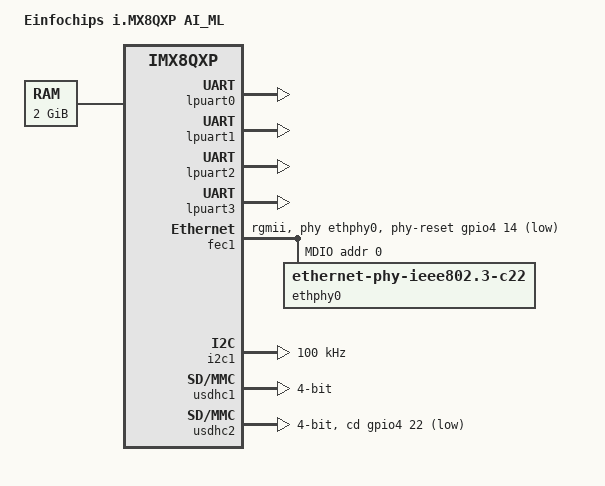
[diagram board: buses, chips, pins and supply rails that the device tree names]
// SPDX-License-Identifier: GPL-2.0+
/*
 * Copyright 2018 Einfochips
 * Copyright 2019 Linaro Ltd.
 */

/dts-v1/;

#include "fsl-imx8qxp.dtsi"
#include "fsl-imx8qxp-ai_ml-u-boot.dtsi"

/ {
	model = "Einfochips i.MX8QXP AI_ML";
	compatible = "einfochips,imx8qxp-ai_ml", "fsl,imx8qxp";

	chosen {
		bootargs = "console=ttyLP2,115200 earlycon=lpuart32,0x5a080000,115200";
		stdout-path = &lpuart2;
	};

	memory@80000000 {
		device_type = "memory";
		reg = <0x00000000 0x80000000 0 0x80000000>;
	};
};

&lpuart0 {
	pinctrl-names = "default";
	pinctrl-0 = <&pinctrl_lpuart0>;
	status = "okay";
};

&lpuart1 {
	pinctrl-names = "default";
	pinctrl-0 = <&pinctrl_lpuart1>;
	status = "okay";
};

&lpuart2 {
	pinctrl-names = "default";
	pinctrl-0 = <&pinctrl_lpuart2>;
	status = "okay";
};

&lpuart3 {
	pinctrl-names = "default";
	pinctrl-0 = <&pinctrl_lpuart3>;
	status = "okay";
};

&fec1 {
	pinctrl-names = "default";
	pinctrl-0 = <&pinctrl_fec1>;
	phy-mode = "rgmii";
	phy-handle = <&ethphy0>;
	fsl,ar8031-phy-fixup;
	fsl,magic-packet;
	phy-reset-gpios = <&gpio4 14 GPIO_ACTIVE_LOW>;
	phy-reset-duration = <10>;
	phy-reset-post-delay = <150>;
	status = "okay";

	mdio {
		#address-cells = <1>;
		#size-cells = <0>;

		ethphy0: ethernet-phy@0 {
			compatible = "ethernet-phy-ieee802.3-c22";
			reg = <0>;
		};
	};
};

/* LS-I2C1 */
&i2c1 {
	#address-cells = <1>;
	#size-cells = <0>;
	clock-frequency = <100000>;
	pinctrl-names = "default";
	pinctrl-0 = <&pinctrl_lpi2c1>;
	status = "okay";
};

&usdhc1 {
	pinctrl-names = "default";
	pinctrl-0 = <&pinctrl_usdhc1>;
	bus-width = <4>;
	no-sd;
	#address-cells = <1>;
	#size-cells = <0>;
	status = "okay";
};

&usdhc2 {
	pinctrl-names = "default";
	pinctrl-0 = <&pinctrl_usdhc2>;
	bus-width = <4>;
	cd-gpios = <&gpio4 22 GPIO_ACTIVE_LOW>;
	status = "okay";
};

&iomuxc {
	pinctrl_fec1: fec1grp {
		fsl,pins = <
			SC_P_COMP_CTL_GPIO_1V8_3V3_ENET_ENETB0_PAD	0x000014a0
			SC_P_COMP_CTL_GPIO_1V8_3V3_ENET_ENETB1_PAD	0x000014a0
			SC_P_ENET0_MDC_CONN_ENET0_MDC			0x06000020
			SC_P_ENET0_MDIO_CONN_ENET0_MDIO			0x06000020
			SC_P_ENET0_RGMII_TX_CTL_CONN_ENET0_RGMII_TX_CTL	0x06000020
			SC_P_ENET0_RGMII_TXC_CONN_ENET0_RGMII_TXC	0x06000020
			SC_P_ENET0_RGMII_TXD0_CONN_ENET0_RGMII_TXD0	0x06000020
			SC_P_ENET0_RGMII_TXD1_CONN_ENET0_RGMII_TXD1	0x06000020
			SC_P_ENET0_RGMII_TXD2_CONN_ENET0_RGMII_TXD2	0x06000020
			SC_P_ENET0_RGMII_TXD3_CONN_ENET0_RGMII_TXD3	0x06000020
			SC_P_ENET0_RGMII_RXC_CONN_ENET0_RGMII_RXC	0x06000020
			SC_P_ENET0_RGMII_RX_CTL_CONN_ENET0_RGMII_RX_CTL	0x06000020
			SC_P_ENET0_RGMII_RXD0_CONN_ENET0_RGMII_RXD0	0x06000020
			SC_P_ENET0_RGMII_RXD1_CONN_ENET0_RGMII_RXD1	0x06000020
			SC_P_ENET0_RGMII_RXD2_CONN_ENET0_RGMII_RXD2	0x06000020
			SC_P_ENET0_RGMII_RXD3_CONN_ENET0_RGMII_RXD3	0x06000020
		>;
	};

	pinctrl_lpi2c1: lpi2c1grp {
		fsl,pins = <
			SC_P_USB_SS3_TC1_ADMA_I2C1_SCL			0x06000021
			SC_P_USB_SS3_TC3_ADMA_I2C1_SDA			0x06000021
		>;
	};

	pinctrl_lpuart0: lpuart0grp {
		fsl,pins = <
			SC_P_UART0_RX_ADMA_UART0_RX			0X06000020
			SC_P_UART0_TX_ADMA_UART0_TX			0X06000020
		>;
	};

	pinctrl_lpuart1: lpuart1grp {
		fsl,pins = <
			SC_P_UART1_RX_ADMA_UART1_RX			0X06000020
			SC_P_UART1_TX_ADMA_UART1_TX			0X06000020
		>;
	};

	pinctrl_lpuart2: lpuart2grp {
		fsl,pins = <
			SC_P_UART2_RX_ADMA_UART2_RX			0X06000020
			SC_P_UART2_TX_ADMA_UART2_TX			0X06000020
		>;
	};

	pinctrl_lpuart3: lpuart3grp {
		fsl,pins = <
			SC_P_FLEXCAN2_RX_ADMA_UART3_RX			0X06000020
			SC_P_FLEXCAN2_TX_ADMA_UART3_TX			0X06000020
		>;
	};

	pinctrl_usdhc1: usdhc1grp {
		fsl,pins = <
			SC_P_EMMC0_CLK_CONN_EMMC0_CLK			0x06000041
			SC_P_EMMC0_CMD_CONN_EMMC0_CMD			0x00000021
			SC_P_EMMC0_DATA0_CONN_EMMC0_DATA0		0x00000021
			SC_P_EMMC0_DATA1_CONN_EMMC0_DATA1		0x00000021
			SC_P_EMMC0_DATA2_CONN_EMMC0_DATA2		0x00000021
			SC_P_EMMC0_DATA3_CONN_EMMC0_DATA3		0x00000021
		>;
	};

	pinctrl_usdhc2: usdhc2grp {
		fsl,pins = <
			SC_P_USDHC1_CLK_CONN_USDHC1_CLK			0x06000041
			SC_P_USDHC1_CMD_CONN_USDHC1_CMD			0x00000021
			SC_P_USDHC1_DATA0_CONN_USDHC1_DATA0		0x00000021
			SC_P_USDHC1_DATA1_CONN_USDHC1_DATA1		0x00000021
			SC_P_USDHC1_DATA2_CONN_USDHC1_DATA2		0x00000021
			SC_P_USDHC1_DATA3_CONN_USDHC1_DATA3		0x00000021
			SC_P_USDHC1_VSELECT_CONN_USDHC1_VSELECT		0x00000021
		>;
	};
};
